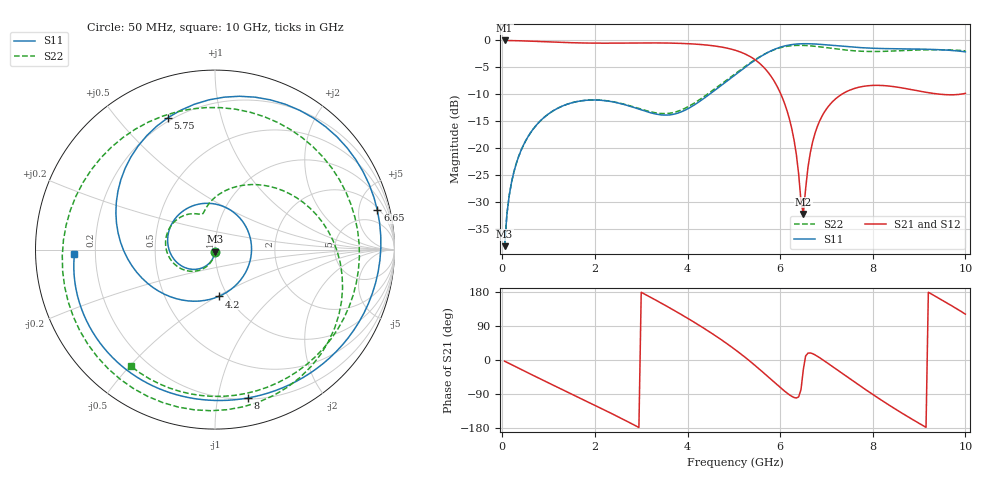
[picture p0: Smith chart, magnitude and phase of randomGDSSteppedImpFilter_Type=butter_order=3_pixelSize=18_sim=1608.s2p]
! freq	dB(S11)	phase(S11)	dB(S12)	phase(S12)
!  dB(S21)	phase(S21)	dB(S22)	phase(S22)
!S-par simulation data
#  GHz  S  DB  R 50
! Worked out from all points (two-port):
!   200 points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, 50 MHz to 10 GHz, reference 50 ohm
!   highest |S21| = -0.01 dB at 50 MHz (marker M1); lowest = -32.1 dB at 6.5 GHz (marker M2)
!   |S21| within 3 dB of the highest: start of sweep to 5.354 GHz
!   lowest |S11| = -38.1 dB at 50 MHz (marker M3), VSWR 1.03, Z = 49.9 - j1.24 ohm
!   |S11| at or under -10 dB: start of sweep to 4.471 GHz
!   |S22| runs from -38.1 to -0.9 dB; largest |S21 - S12| = 0
!   S11 on the Smith chart (normalised r, x): 50 MHz: 1.00, -0.02; 4.2 GHz: 0.91, -0.51; 5.75 GHz: 0.18, +0.69; 6.65 GHz: 2.33, +7.67; 8 GHz: 0.21, -1.22; 10 GHz: 0.12, -0.02
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0.05  -38.09 -93.4  -0.01 -3.1  -0.01 -3.1  -38.09 -93.1
0.2  -26.25 -103.4  -0.03 -12.3  -0.03 -12.3  -26.24 -102.1
0.5  -18.66 -122.8  -0.10 -30.6  -0.10 -30.6  -18.66 -119.6
1.15  -12.77 -164.3  -0.32 -69.4  -0.32 -69.4  -12.77 -155.9
1.75  -11.13 156.6  -0.47 -104.8  -0.47 -104.8  -11.13 172.6
2.65  -11.91 89.6  -0.49 -159.1  -0.49 -159.1  -11.85 131.5
3.4  -13.75 12.7  -0.47 152.3  -0.47 152.3  -13.51 111.5
4.2  -11.64 -85.4  -0.70 95.4  -0.70 95.4  -11.31 94.3
5.05  -6.21 -174.0  -1.87 25.4  -1.87 25.4  -6.01 41.2
5.4  -3.99 148.9  -3.24 -8.5  -3.24 -8.5  -3.89 9.3
5.75  -2.15 109.6  -6.02 -45.5  -6.02 -45.5  -2.16 -27.7
6.2  -0.84 58.7  -14.54 -91.9  -14.54 -91.9  -1.01 -79.7
6.5  -0.61 27.7  -32.11 -25.4  -32.11 -25.4  -0.92 -114.6
6.65  -0.62 13.6  -20.84 18.6  -20.84 18.6  -1.00 -131.9
6.7  -0.64 9.1  -18.83 16.7  -18.83 16.7  -1.04 -137.6
7.25  -1.01 -33.6  -10.44 -27.7  -10.44 -27.7  -1.62 159.0
7.65  -1.29 -58.6  -8.78 -61.9  -8.78 -61.9  -1.95 111.5
8  -1.45 -77.6  -8.33 -90.9  -8.33 -90.9  -2.05 69.6
8.35  -1.53 -95.2  -8.45 -118.9  -8.45 -118.9  -1.99 29.3
8.75  -1.57 -114.5  -8.97 -149.1  -8.97 -149.1  -1.84 -13.1
9.25  -1.65 -138.6  -9.74 175.2  -9.74 175.2  -1.73 -60.4
10  -2.11 -178.0  -9.80 120.9  -9.80 120.9  -1.93 -125.7
